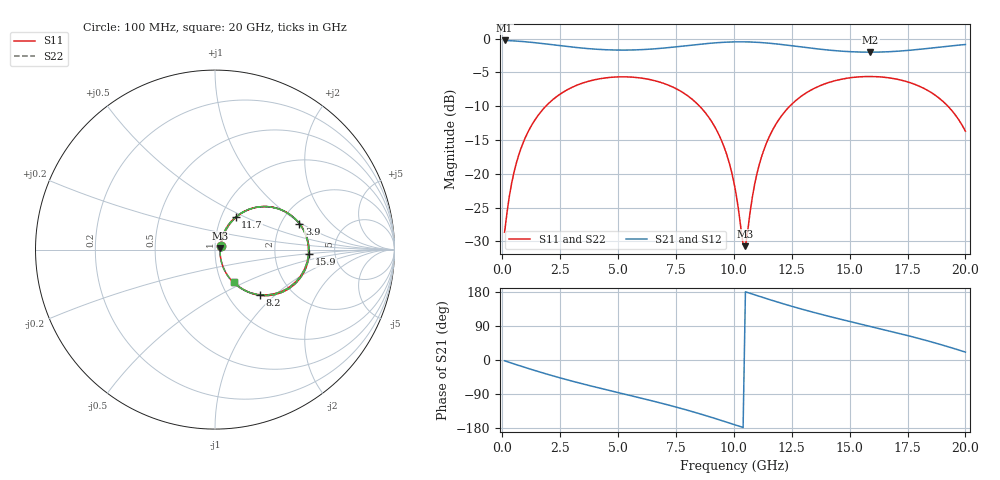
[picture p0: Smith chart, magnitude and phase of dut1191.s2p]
! Touchstone file exported from HFSS 2026.1.0
!  File:  C:/ffzhzh/LocalFiles/Ansys_Project_Files/temp_train_TSV_RDL_1191_1783317197_38704.aedt
!  Generated:  02:06:14 PM Jul  6, 2026
!  Design:  TSV_RDL
!  Project:  temp_train_TSV_RDL_1191_1783317197_38704
! Variables:
!  h_bsmrdl = 2.78um
!  h_ox = 20um
!  h_rdl = 5um
!  h_sub = 98.57um
!  h_tmrdl = 4.5um
!  h_tsv = 98.57um
!  h_via = 3um
!  l_bsmrdl = 831.88um
!  l_sub = 5412.23um
!  l_tmrdl = 602.32um
!  m_sub = 200um
!  pitch = 46.37um
!  r_tsv = 13.08um
!  s_tmrdl = 10um
!  w_bsmrdl = 14.46um
!  w_sub = 500um
!  w_tmrdl = 21.31um
!  x_tsv_center1 = 612.975um
!  x_tsv_center2 = 1459.315um
!  x_tsv_center3 = 2082.945um
!  x_tsv_center4 = 2929.285um
!  x_tsv_center5 = 3552.915um
!  x_tsv_center6 = 4399.255um
# GHz S MA R 50.000000
! Terminal data exported
! Port[1] = TM_RDL1_1_T1
! Port[2] = TM_RDL5_1_T1
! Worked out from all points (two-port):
!   200 points, 100 MHz to 20 GHz, reference 50 ohm
!   highest |S21| = -0.28 dB at 100 MHz (marker M1); lowest = -2.0 dB at 15.9 GHz (marker M2)
!   |S21| within 3 dB of the highest: start of sweep to end of sweep
!   lowest |S11| = -30.7 dB at 10.5 GHz (marker M3), VSWR 1.06, Z = 52.9 + j0.672 ohm
!   |S11| at or under -10 dB: start of sweep to 1.881 GHz; 8.521 GHz to 12.42 GHz (3.895 GHz wide, 37.2 % of centre); 19.24 GHz to end of sweep
!   |S22| runs from -30.8 to -5.6 dB; largest |S21 - S12| = 8e-15
!   S11 on the Smith chart (normalised r, x): 100 MHz: 1.06, +0.04; 3.9 GHz: 2.51, +0.96; 8.2 GHz: 1.40, -0.81; 11.7 GHz: 1.17, +0.44; 15.9 GHz: 3.19, -0.22; 20 GHz: 1.15, -0.43
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0.1  0.03701 31.0  0.9688 -2.1  0.9688 -2.1  0.03701 31.0
! Gamma 0 0 0 0
! Port Impedance 50 0 50 0
0.5  0.1015 60.1  0.9613 -10.2  0.9613 -10.2  0.1015 60.1
1.2  0.218 56.7  0.9405 -23.8  0.9405 -23.8  0.218 56.7
2.2  0.3557 42.3  0.8995 -42.1  0.8995 -42.1  0.3557 42.3
3.5  0.4706 22.9  0.8492 -63.5  0.8492 -63.5  0.4706 22.9
3.9  0.492 17.1  0.8381 -69.6  0.8381 -69.6  0.492 17.1
5.3  0.5212 -2.5  0.8221 -90.3  0.8221 -90.3  0.5212 -2.5
6.8  0.4766 -23.7  0.8459 -112.9  0.8459 -112.9  0.4766 -23.8
8.2  0.3558 -45.0  0.8954 -136.1  0.8954 -136.1  0.3558 -45.0
9.4  0.187 -62.4  0.9356 -158.3  0.9356 -158.3  0.187 -62.5
9.8  0.1206 -65.2  0.9433 -166.2  0.9433 -166.2  0.1206 -65.3
10.1  0.07029 -60.8  0.9462 -172.1  0.9462 -172.1  0.07021 -61.0
10.4  0.03007 -20.8  0.9465 -178.1  0.9465 -178.1  0.02987 -21.0
10.5  0.02911 12.6  0.946 179.9  0.946 179.9  0.02889 12.7
11  0.1005 61.9  0.939 170.0  0.939 170.0  0.1004 62.0
11.7  0.2148 57.5  0.9184 156.4  0.9184 156.4  0.2147 57.6
13.4  0.422 32.4  0.8472 126.4  0.8472 126.4  0.422 32.4
14.7  0.5024 13.7  0.8062 106.2  0.8062 106.2  0.5024 13.7
15.9  0.5241 -2.7  0.7934 88.6  0.7934 88.6  0.524 -2.7
16.7  0.5123 -13.6  0.7997 76.8  0.7997 76.8  0.5123 -13.6
18.7  0.3808 -42.3  0.8581 44.9  0.8581 44.9  0.3808 -42.3
20  0.2067 -59.6  0.9037 20.9  0.9037 20.9  0.2067 -59.6
